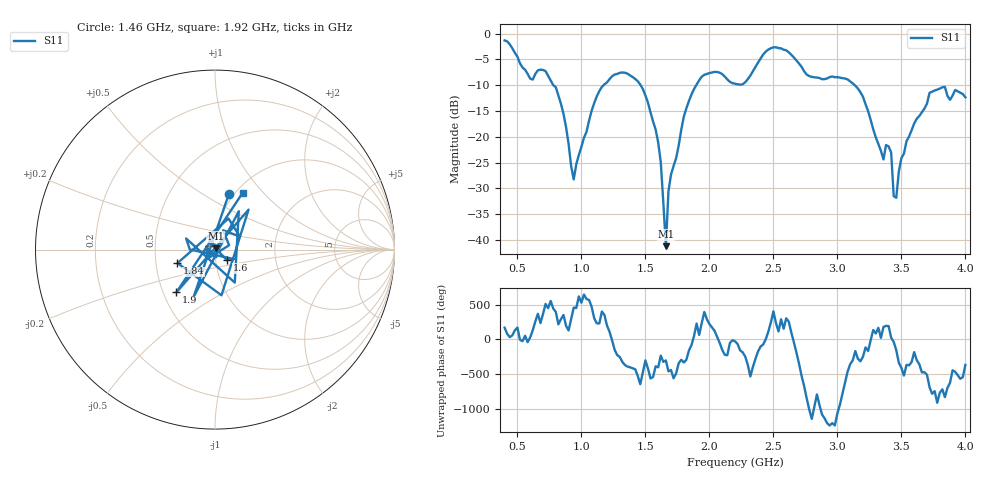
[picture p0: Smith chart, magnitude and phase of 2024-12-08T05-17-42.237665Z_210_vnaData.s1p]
!Created with skrf (http://scikit-rf.org).
# Hz S RI R 50.0
!freq ReS11 ImS11
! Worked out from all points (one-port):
!   181 points, 400 MHz to 4 GHz, reference 50 ohm
!   lowest |S11| = -41.2 dB at 1.66 GHz (marker M1), VSWR 1.02, Z = 50.5 + j0.739 ohm
!   |S11| at or under -10 dB: 780.7 MHz to 1.173 GHz (392.4 MHz wide, 40.2 % of centre); 1.463 GHz to 1.897 GHz (434.3 MHz wide, 25.9 % of centre); 3.136 GHz to end of sweep
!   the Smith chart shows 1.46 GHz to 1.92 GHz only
!   S11 on the Smith chart (normalised r, x): 1.46 GHz: 0.95, +0.66; 1.6 GHz: 1.13, -0.13; 1.84 GHz: 0.65, -0.10; 1.9 GHz: 0.59, -0.31; 1.92 GHz: 1.07, +0.78
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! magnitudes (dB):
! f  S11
! 400 MHz  -1.3
! 600 MHz  -8.7
! 720 MHz  -7.3
! 860 MHz  -15.5
! 940 MHz  -28.3
! 1.12 GHz  -12.2
! 1.3 GHz  -7.6
! 1.46 GHz  -9.9
! 1.6 GHz  -21.1
! 1.62 GHz  -24.9
! 1.66 GHz  -41.2
! 1.68 GHz  -30.6
! 1.76 GHz  -21.7
! 1.84 GHz  -13.1
! 1.9 GHz  -9.9
! 1.92 GHz  -9.0
! 2.2 GHz  -9.7
! 2.48 GHz  -2.8
! 2.66 GHz  -4.6
! 2.78 GHz  -8.2
! 3.1 GHz  -9.3
! 3.2 GHz  -12.3
! 3.36 GHz  -24.4
! 3.42 GHz  -23.1
! 3.44 GHz  -31.5
! 3.56 GHz  -19.9
! 3.72 GHz  -11.5
! 4 GHz  -12.4
